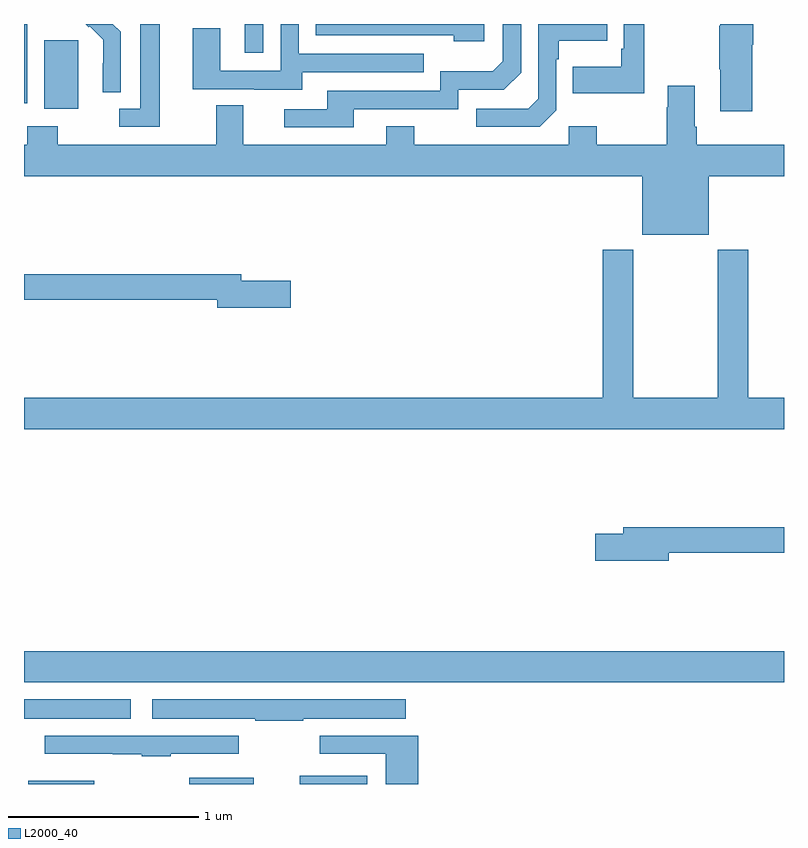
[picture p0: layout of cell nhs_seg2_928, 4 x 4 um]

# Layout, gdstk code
import gdstk
lib = gdstk.Library(unit=1e-6, precision=1e-09)
def R(c, l, rs):  # rectangles x0, y0, x1, y1
    for r in rs: c.add(gdstk.rectangle(r[:2], r[2:], *l))
def P(c, l, *ps):  # polygons
    for p in ps: c.add(gdstk.Polygon(p, *l))
L2000_40 = (2000, 40)

nhs_seg2_928 = lib.new_cell('nhs_seg2_928')
R(nhs_seg2_928, L2000_40, [(159.023,613.8,159.37,613.816), (159.869,613.8,160.21,613.834), (160.451,613.8,160.807,613.843), (159,614.144,159.562,614.245), (159,614.336,163,614.5), (159.107,617.354,159.286,617.715), (159,617.383,159.018,617.8), (160.163,617.649,160.26,617.8)])
P(nhs_seg2_928, L2000_40, [(161.802,617.346),(161.802,617.615),(161.815,617.615),(161.815,617.711),(162.071,617.711),(162.071,617.8),(161.706,617.8),(161.706,617.406),(161.655,617.355),(161.379,617.355),(161.379,617.259),(161.715,617.259)],
  [(162.833,617.691),(162.838,617.691),(162.838,617.8),(162.665,617.8),(162.665,617.791),(162.658,617.791),(162.658,617.563),(162.665,617.563),(162.665,617.34),(162.833,617.34)],
  [(160.735,617.352),(161.286,617.352),(161.286,617.454),(161.526,617.454),(161.616,617.544),(161.616,617.8),(161.52,617.8),(161.52,617.604),(161.467,617.551),(161.19,617.551),(161.19,617.448),(160.595,617.448),(160.595,617.352),(160.371,617.352),(160.371,617.256),(160.735,617.256)],
  [(161.422,617.8),(160.536,617.8),(160.536,617.742),(161.261,617.742),(161.261,617.708),(161.422,617.708)],
  [(159.51,617.758),(159.468,617.8),(159.326,617.8),(159.342,617.784),(159.345,617.787),(159.416,617.717),(159.416,617.594),(159.414,617.594),(159.414,617.44),(159.51,617.44)],
  [(159.715,617.8),(159.611,617.8),(159.611,617.355),(159.501,617.355),(159.501,617.259),(159.715,617.259)],
  [(162.265,617.8),(162.156,617.8),(162.156,617.671),(162.144,617.671),(162.144,617.575),(161.887,617.575),(161.887,617.435),(162.265,617.435)],
  [(160.465,617.547),(161.105,617.547),(161.105,617.643),(160.446,617.643),(160.446,617.8),(160.35,617.8),(160.35,617.553),(160.032,617.553),(160.032,617.777),(159.887,617.777),(159.887,617.457),(160.211,617.457),(160.211,617.453),(160.465,617.453)],
  [(162.542,617.26),(162.529,617.26),(162.529,617.476),(162.389,617.476),(162.389,617.363),(162.382,617.363),(162.382,617.164),(162.015,617.164),(162.015,617.263),(161.868,617.263),(161.868,617.164),(161.055,617.164),(161.055,617.263),(160.907,617.263),(160.907,617.164),(160.153,617.164),(160.153,617.372),(160.013,617.372),(160.013,617.164),(159.177,617.164),(159.177,617.263),(159.017,617.263),(159.017,617.164),(159,617.164),(159,617),(162.254,617),(162.254,616.691),(162.604,616.691),(162.604,617),(163,617),(163,617.164),(162.542,617.164)],
  [(163,615.832),(162.812,615.832),(162.812,616.612),(162.652,616.612),(162.652,615.832),(162.207,615.832),(162.207,616.612),(162.047,616.612),(162.047,615.832),(159,615.832),(159,615.668),(163,615.668)],
  [(160.405,616.448),(160.144,616.448),(160.144,616.484),(159,616.484),(159,616.348),(160.016,616.348),(160.016,616.306),(160.405,616.306)],
  [(162.394,615.016),(163,615.016),(163,615.152),(162.155,615.152),(162.155,615.116),(162.006,615.116),(162.006,614.974),(162.394,614.974)],
  [(160.469,614.144),(161.008,614.144),(161.008,614.245),(159.675,614.245),(159.675,614.144),(160.216,614.144),(160.216,614.134),(160.469,614.134)],
  [(161.075,614.055),(160.557,614.055),(160.557,613.959),(160.904,613.959),(160.904,613.8),(161.075,613.8)],
  [(159.773,613.959),(160.129,613.959),(160.129,614.055),(159.108,614.055),(159.108,613.958),(159.466,613.958),(159.466,613.957),(159.62,613.957),(159.62,613.947),(159.773,613.947)])

lib.write_gds('nhs_seg2_928.gds')
